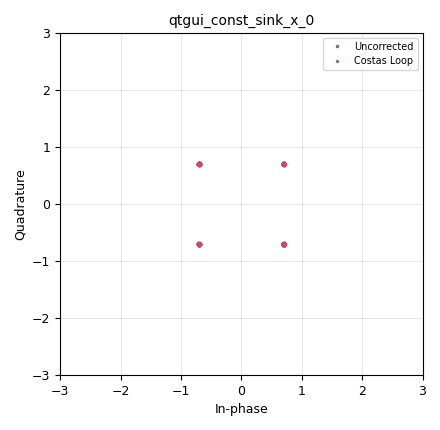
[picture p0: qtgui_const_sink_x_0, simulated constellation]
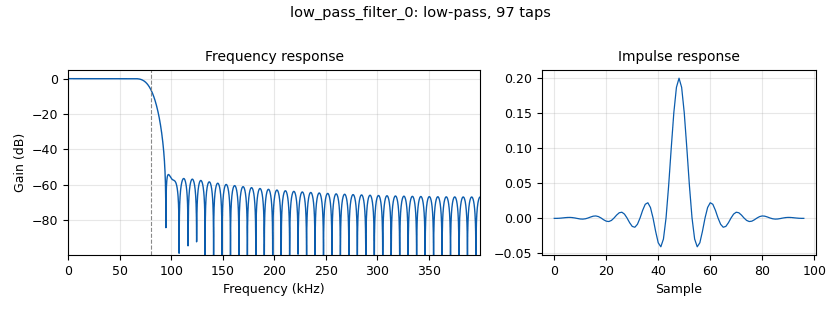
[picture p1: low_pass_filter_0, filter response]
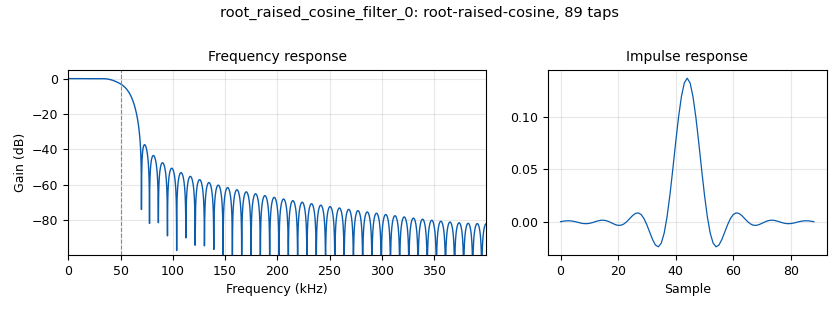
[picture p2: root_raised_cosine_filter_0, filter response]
options:
  parameters:
    author: tom
    generate_options: qt_gui
    id: backup
    output_language: python
    title: Not titled yet
  states: {}

blocks:
- name: CPO
  id: variable_qtgui_range
  parameters:
    start: '0'
    step: '0.01'
    stop: 2*math.pi
    value: '0'
  states: {}
- name: QPSK_constellation
  id: variable_constellation
  parameters:
    const_points: '[-1-1j, -1+1j, 1+1j, 1-1j]'
    dims: '1'
    normalization: digital.constellation.AMPLITUDE_NORMALIZATION
    precision: '8'
    rot_sym: '4'
    sym_map: '[0, 1, 3, 2]'
    type: calcdist
  states: {}
- name: alpha
  id: variable
  parameters:
    value: '0.5'
  states: {}
- name: fc
  id: variable
  parameters:
    value: '200000'
  states: {}
- name: noise_volt
  id: variable_qtgui_range
  parameters:
    start: '0'
    step: '0.01'
    stop: '3'
    value: '0'
  states: {}
- name: samp_rate
  id: variable
  parameters:
    value: '800000'
  states: {}
- name: sps
  id: variable
  parameters:
    value: '8'
  states: {}
- name: analog_random_uniform_source_x_0
  id: analog_random_uniform_source_x
  parameters:
    maximum: '256'
    minimum: '0'
    seed: '0'
    type: byte
  states: {}
- name: analog_sig_source_x_0
  id: analog_sig_source_x
  parameters:
    amp: '1'
    freq: fc
    offset: '0'
    phase: '0'
    samp_rate: samp_rate
    type: complex
    waveform: analog.GR_COS_WAVE
  states: {}
- name: analog_sig_source_x_0_0
  id: analog_sig_source_x
  parameters:
    amp: '1'
    freq: '-fc'
    offset: '0'
    phase: CPO
    samp_rate: samp_rate
    type: complex
    waveform: analog.GR_COS_WAVE
  states: {}
- name: blocks_file_sink_0
  id: blocks_file_sink
  parameters:
    file: /home/tom/Documents/UofT/UTAT/SDR/Digital_Communication_System/tx_unpacked_bytes
    type: byte
  states: {state: disabled}
- name: blocks_file_sink_0_0
  id: blocks_file_sink
  parameters:
    file: /home/tom/Documents/UofT/UTAT/SDR/Digital_Communication_System/rx_unpacked_bytes
    type: byte
  states: {state: disabled}
- name: blocks_multiply_xx_0
  id: blocks_multiply_xx
  parameters:
    type: complex
  states: {}
- name: blocks_multiply_xx_0_0
  id: blocks_multiply_xx
  parameters:
    type: complex
  states: {}
- name: blocks_throttle2_0_0_0
  id: blocks_throttle2
  parameters:
    samples_per_second: samp_rate
    type: complex
  states: {}
- name: blocks_throttle2_0_0_0_0
  id: blocks_throttle2
  parameters:
    samples_per_second: samp_rate
    type: byte
  states: {}
- name: blocks_unpack_k_bits_bb_0
  id: blocks_unpack_k_bits_bb
  parameters:
    k: '2'
  states: {}
- name: blocks_unpack_k_bits_bb_1
  id: blocks_unpack_k_bits_bb
  parameters:
    k: '8'
  states: {}
- name: channels_channel_model_0
  id: channels_channel_model
  parameters:
    epsilon: '1.0'
    freq_offset: '0.0'
    noise_voltage: noise_volt
    seed: '0'
    taps: '1.0'
  states: {}
- name: digital_constellation_decoder_cb_0
  id: digital_constellation_decoder_cb
  parameters:
    constellation: QPSK_constellation
  states: {}
- name: digital_constellation_modulator_0
  id: digital_constellation_modulator
  parameters:
    constellation: QPSK_constellation
    differential: 'True'
    excess_bw: alpha
    samples_per_symbol: sps
  states: {}
- name: digital_costas_loop_cc_0
  id: digital_costas_loop_cc
  parameters:
    order: '4'
    w: 2*math.pi/100
  states: {}
- name: digital_diff_decoder_bb_0
  id: digital_diff_decoder_bb
  parameters:
    coding: digital.DIFF_DIFFERENTIAL
    modulus: '4'
  states: {}
- name: digital_map_bb_0
  id: digital_map_bb
  parameters:
    map: '[0, 1, 3, 2]'
  states: {}
- name: digital_symbol_sync_xx_0
  id: digital_symbol_sync_xx
  parameters:
    constellation: digital.constellation_qpsk().base()
    damping: '1.0'
    loop_bw: '0.045'
    max_dev: '1.5'
    nfilters: '32'
    osps: '1'
    resamp_type: digital.IR_MMSE_8TAP
    sps: sps
    ted_gain: '1'
    ted_type: digital.TED_SIGNAL_TIMES_SLOPE_ML
    type: cc
  states: {}
- name: epy_block_0
  id: epy_block
  parameters:
    _source_code: |-
      import numpy as np
      from gnuradio import gr

      class blk(gr.sync_block):
          def __init__(self, buffer_size=20000, max_offset=500, realign_interval=50000, periodic_realign=True):
              gr.sync_block.__init__(
                  self,
                  name='BER Calculator',
                  in_sig=[np.uint8, np.uint8],
                  out_sig=[np.float32]
              )
              self.buffer_size = buffer_size
              self.max_offset = max_offset
              self.realign_interval = realign_interval
              self.periodic_realign = periodic_realign
              self.tx_buffer = np.array([], dtype=np.uint8)
              self.rx_buffer = np.array([], dtype=np.uint8)
              self.synced = False
              self.offset = 0
              self.total_bits = 0
              self.total_errors = 0
              self.print_counter = 0
              self.realign_counter = 0
              self.last_ber = 0.0

          def find_offset(self):
              correlation = np.correlate(
                  self.rx_buffer.astype(float),
                  self.tx_buffer.astype(float),
                  mode='full'
              )
              center = len(self.tx_buffer) - 1
              search = correlation[center - self.max_offset:center + self.max_offset]
              return np.argmax(search) - self.max_offset

          def align_buffers(self, offset):
              if offset >= 0:
                  self.rx_buffer = self.rx_buffer[offset:]
              else:
                  self.tx_buffer = self.tx_buffer[-offset:]
              print(f"[BER Block] Aligned. Offset: {offset}")

          def work(self, input_items, output_items):
              tx_in = input_items[0]
              rx_in = input_items[1]
              n = len(tx_in)

              self.tx_buffer = np.append(self.tx_buffer, tx_in)
              self.rx_buffer = np.append(self.rx_buffer, rx_in)

              if not self.synced:
                  if len(self.tx_buffer) >= self.buffer_size:
                      offset = self.find_offset()
                      self.align_buffers(offset)
                      self.synced = True
                      print(f"[BER Block] Initial lock. Offset: {offset}")

              else:
                  min_len = min(len(self.tx_buffer), len(self.rx_buffer))
                  if min_len > 0:
                      errors = np.sum(self.tx_buffer[:min_len] != self.rx_buffer[:min_len])
                      self.total_errors += errors
                      self.total_bits += min_len
                      self.realign_counter += min_len

                      self.tx_buffer = self.tx_buffer[min_len:]
                      self.rx_buffer = self.rx_buffer[min_len:]

                      self.print_counter += min_len
                      if self.print_counter >= 1000:
                          self.last_ber = self.total_errors / self.total_bits
                          print(f"[BER Block] BER: {self.last_ber:.6f}")
                          self.print_counter = 0
                          self.total_bits = 0
                          self.total_errors = 0

                      # Periodically re-align only if enabled
                      if self.periodic_realign and self.realign_counter >= self.realign_interval:
                          self.realign_counter = 0
                          self.synced = False
                          self.tx_buffer = np.array([], dtype=np.uint8)
                          self.rx_buffer = np.array([], dtype=np.uint8)
                          print(f"[BER Block] Re-aligning...")

              output_items[0][:n] = self.last_ber
              return n
    buffer_size: '20000'
    max_offset: '500'
    periodic_realign: 'False'
    realign_interval: '50000'
  states: {}
- name: import_0
  id: import
  parameters:
    imports: import math
  states: {}
- name: import_0_0
  id: import
  parameters:
    imports: import numpy
  states: {}
- name: low_pass_filter_0
  id: low_pass_filter
  parameters:
    cutoff_freq: '80000'
    decim: '1'
    gain: '1'
    samp_rate: samp_rate
    type: fir_filter_ccf
    width: '20000'
    win: window.WIN_HAMMING
  states: {}
- name: qtgui_const_sink_x_0
  id: qtgui_const_sink_x
  parameters:
    label1: Uncorrected
    label2: Costas Loop
    nconnections: '2'
    size: '1024'
    type: complex
    xmax: '3'
    xmin: '-3'
    ymax: '3'
    ymin: '-3'
  states: {}
- name: qtgui_time_sink_x_0
  id: qtgui_time_sink_x
  parameters:
    size: '1024'
    srate: samp_rate
    type: float
    ylabel: BER
    ymin: '-0.001'
  states: {}
- name: root_raised_cosine_filter_0
  id: root_raised_cosine_filter
  parameters:
    alpha: '0.35'
    decim: '1'
    gain: '1'
    ntaps: 11*sps
    samp_rate: samp_rate
    sym_rate: samp_rate / sps
    type: fir_filter_ccf
  states: {}
- name: virtual_sink_0
  id: virtual_sink
  parameters:
    stream_id: rx_signal_filtered
  states: {}
- name: virtual_sink_0_0
  id: virtual_sink
  parameters:
    stream_id: input_bits
  states: {}
- name: virtual_sink_1
  id: virtual_sink
  parameters:
    stream_id: decoded_signal
  states: {}
- name: virtual_source_0
  id: virtual_source
  parameters:
    stream_id: rx_signal_filtered
  states: {}
- name: virtual_source_1
  id: virtual_source
  parameters:
    stream_id: decoded_signal
  states: {}
- name: virtual_source_2
  id: virtual_source
  parameters:
    stream_id: input_bits
  states: {}

connections:
- [analog_random_uniform_source_x_0, '0', blocks_throttle2_0_0_0_0, '0']
- [analog_sig_source_x_0, '0', blocks_multiply_xx_0, '1']
- [analog_sig_source_x_0_0, '0', blocks_multiply_xx_0_0, '1']
- [blocks_multiply_xx_0, '0', channels_channel_model_0, '0']
- [blocks_multiply_xx_0_0, '0', low_pass_filter_0, '0']
- [blocks_throttle2_0_0_0, '0', blocks_multiply_xx_0, '0']
- [blocks_throttle2_0_0_0_0, '0', digital_constellation_modulator_0, '0']
- [blocks_throttle2_0_0_0_0, '0', virtual_sink_0_0, '0']
- [blocks_unpack_k_bits_bb_0, '0', blocks_file_sink_0_0, '0']
- [blocks_unpack_k_bits_bb_0, '0', epy_block_0, '0']
- [blocks_unpack_k_bits_bb_1, '0', blocks_file_sink_0, '0']
- [blocks_unpack_k_bits_bb_1, '0', epy_block_0, '1']
- [channels_channel_model_0, '0', blocks_multiply_xx_0_0, '0']
- [digital_constellation_decoder_cb_0, '0', virtual_sink_1, '0']
- [digital_constellation_modulator_0, '0', blocks_throttle2_0_0_0, '0']
- [digital_costas_loop_cc_0, '0', digital_constellation_decoder_cb_0, '0']
- [digital_costas_loop_cc_0, '0', qtgui_const_sink_x_0, '1']
- [digital_diff_decoder_bb_0, '0', digital_map_bb_0, '0']
- [digital_map_bb_0, '0', blocks_unpack_k_bits_bb_0, '0']
- [digital_symbol_sync_xx_0, '0', digital_costas_loop_cc_0, '0']
- [digital_symbol_sync_xx_0, '0', qtgui_const_sink_x_0, '0']
- [epy_block_0, '0', qtgui_time_sink_x_0, '0']
- [low_pass_filter_0, '0', root_raised_cosine_filter_0, '0']
- [root_raised_cosine_filter_0, '0', virtual_sink_0, '0']
- [virtual_source_0, '0', digital_symbol_sync_xx_0, '0']
- [virtual_source_1, '0', digital_diff_decoder_bb_0, '0']
- [virtual_source_2, '0', blocks_unpack_k_bits_bb_1, '0']

metadata:
  file_format: 1
  grc_version: 3.10.9.2
